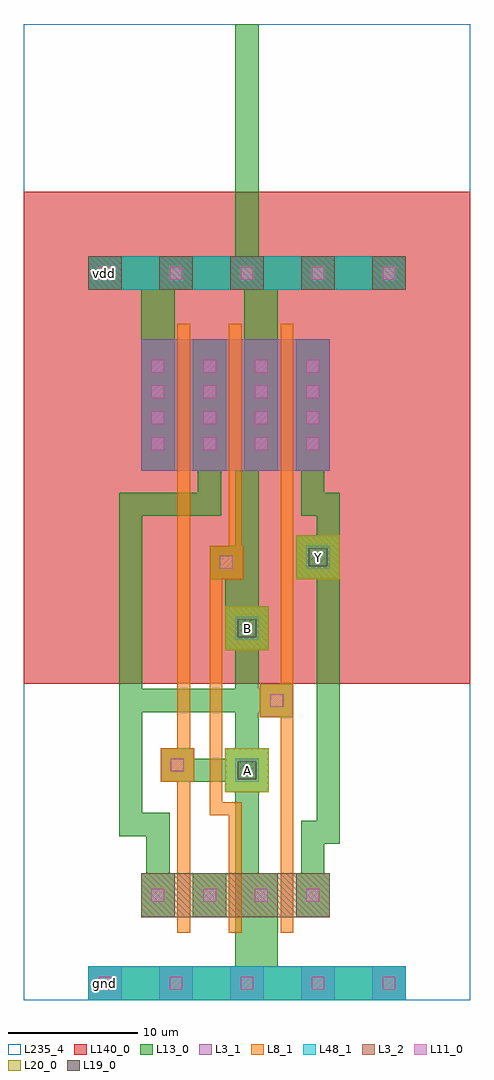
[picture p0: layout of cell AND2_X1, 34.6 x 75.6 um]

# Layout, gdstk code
import gdstk
lib = gdstk.Library(unit=1e-6, precision=1e-09)
def R(c, l, rs):  # rectangles x0, y0, x1, y1
    for r in rs: c.add(gdstk.rectangle(r[:2], r[2:], *l))
def A(c, l, x, y, w, h, nx, ny, dx, dy):  # array of equal rectangles
    R(c, l, [(x+i*dx, y+j*dy, x+i*dx+w, y+j*dy+h) for i in range(nx) for j in range(ny)])
def P(c, l, *ps):  # polygons
    for p in ps: c.add(gdstk.Polygon(p, *l))
L3_1 = (3, 1)
L3_2 = (3, 2)
L8_1 = (8, 1)
L11_0 = (11, 0)
L13_0 = (13, 0)
L19_0 = (19, 0)
L20_0 = (20, 0)
L48_1 = (48, 1)
L140_0 = (140, 0)
L235_4 = (235, 4)

and2_x1 = lib.new_cell('AND2_X1')
A(and2_x1, L3_1, 5, 0, 2.6, 2.6, 5, 1, 5.5, 0)
R(and2_x1, L3_1, [(9.1,41,23.7,51.2)])
A(and2_x1, L3_2, 5, 55, 2.6, 2.6, 5, 1, 5.5, 0)
R(and2_x1, L3_2, [(9.1,6.4,23.7,9.8)])
P(and2_x1, L8_1, [(11.9,5.2),(11.9,16.9),(10.6,16.9),(10.6,19.5),(11.9,19.5),(11.9,52.4),(12.9,52.4),(12.9,19.5),(13.2,19.5),(13.2,16.9),(12.9,16.9),(12.9,5.2)],
  [(15.9,5.2),(15.9,14.3),(14.4,14.3),(14.4,35.2),(15.9,35.2),(15.9,52.4),(16.9,52.4),(16.9,35.2),(17,35.2),(17,32.6),(15.4,32.6),(15.4,15.3),(16.9,15.3),(16.9,5.2)],
  [(19.9,5.2),(19.9,21.9),(18.3,21.9),(18.3,24.5),(19.9,24.5),(19.9,52.4),(20.9,52.4),(20.9,5.2)])
A(and2_x1, L11_0, 5.8, 0.8, 1, 1, 5, 2, 5.5, 55)
A(and2_x1, L11_0, 9.9, 42.6, 1, 1, 1, 4, 0, 2)
A(and2_x1, L11_0, 21.9, 42.6, 1, 1, 1, 4, 0, 2)
R(and2_x1, L11_0, [(9.9,7.6,10.9,8.6), (13.9,7.6,14.9,8.6), (13.9,7.6,14.9,8.6), (17.9,7.6,18.9,8.6), (17.9,7.6,18.9,8.6), (21.9,7.6,22.9,8.6), (11.4,17.7,12.4,18.7), (19.1,22.7,20.1,23.7), (15.2,33.4,16.2,34.4), (13.9,42.6,14.9,43.6), (13.9,42.6,14.9,43.6), (17.9,42.6,18.9,43.6), (17.9,42.6,18.9,43.6), (13.9,44.6,14.9,45.6), (13.9,44.6,14.9,45.6), (17.9,44.6,18.9,45.6), (17.9,44.6,18.9,45.6), (13.9,46.6,14.9,47.6), (13.9,46.6,14.9,47.6), (17.9,46.6,18.9,47.6), (17.9,46.6,18.9,47.6), (13.9,48.6,14.9,49.6), (13.9,48.6,14.9,49.6), (17.9,48.6,18.9,49.6), (17.9,48.6,18.9,49.6)])
R(and2_x1, L13_0, [(13.1,6.4,15.7,9.8)])
P(and2_x1, L13_0, [(21.1,6.4),(21.1,9.8),(21.5,9.8),(21.5,13.9),(22.7,13.9),(22.7,32.6),(21.1,32.6),(21.1,36),(22.7,36),(22.7,37.5),(21.5,37.5),(21.5,41),(21.1,41),(21.1,51.2),(23.7,51.2),(23.7,41),(23.3,41),(23.3,39.3),(24.5,39.3),(24.5,12.1),(23.3,12.1),(23.3,9.8),(23.7,9.8),(23.7,6.4)],
  [(5,0),(5,2.6),(16.4,2.6),(16.4,16.1),(15.6,16.1),(15.6,16.9),(10.6,16.9),(10.6,19.5),(13.2,19.5),(13.2,18.7),(15.6,18.7),(15.6,19.5),(16.4,19.5),(16.4,22.3),(9.2,22.3),(9.2,14.5),(11.3,14.5),(11.3,9.8),(11.7,9.8),(11.7,6.4),(9.1,6.4),(9.1,9.8),(9.5,9.8),(9.5,12.7),(7.4,12.7),(7.4,39.3),(13.5,39.3),(13.5,41),(13.1,41),(13.1,51.2),(15.7,51.2),(15.7,41),(15.3,41),(15.3,37.5),(9.2,37.5),(9.2,24.1),(16.4,24.1),(16.4,27.1),(15.6,27.1),(15.6,32.6),(14.4,32.6),(14.4,35.2),(16.4,35.2),(16.4,41),(17.1,41),(17.1,55),(11.7,55),(11.7,41),(9.1,41),(9.1,55),(5,55),(5,57.6),(16.4,57.6),(16.4,75.6),(18.2,75.6),(18.2,57.6),(29.6,57.6),(29.6,55),(19.7,55),(19.7,41),(18.2,41),(18.2,30.5),(19,30.5),(19,27.1),(18.2,27.1),(18.2,24.1),(18.3,24.1),(18.3,24.5),(20.9,24.5),(20.9,21.9),(18.3,21.9),(18.3,22.3),(18.2,22.3),(18.2,19.5),(19,19.5),(19,16.1),(18.2,16.1),(18.2,9.8),(19.7,9.8),(19.7,2.6),(29.6,2.6),(29.6,0)])
R(and2_x1, L19_0, [(16.6,17.1,18,18.5), (16.6,28.1,18,29.5), (22.1,33.6,23.5,35)])
R(and2_x1, L20_0, [(15.6,16.1,19,19.5), (15.6,27.1,19,30.5), (21.1,32.6,24.5,36)])
R(and2_x1, L48_1, [(5,0,29.6,2.6), (16.4,16.9,18.2,18.7), (16.4,27.9,18.2,29.7), (21.9,33.4,23.7,35.2), (5,55,29.6,57.6)])
R(and2_x1, L140_0, [(0,24.5,34.6,62.6)])
R(and2_x1, L235_4, [(0,0,34.6,75.6)])
and2_x1.add(gdstk.Label('vdd', (6.3,56.3), layer=48, texttype=0))
and2_x1.add(gdstk.Label('gnd', (6.3,1.3), layer=48, texttype=0))
and2_x1.add(gdstk.Label('Y', (22.8,34.3), layer=48, texttype=0))
and2_x1.add(gdstk.Label('A', (17.3,17.8), layer=48, texttype=0))
and2_x1.add(gdstk.Label('B', (17.3,28.8), layer=48, texttype=0))
and2_x1.add(gdstk.Label('A', (17.3,17.8), layer=49, texttype=0))
and2_x1.add(gdstk.Label('B', (17.3,28.8), layer=49, texttype=0))
and2_x1.add(gdstk.Label('Y', (22.8,34.3), layer=49, texttype=0))

lib.write_gds('AND2_X1.gds')
